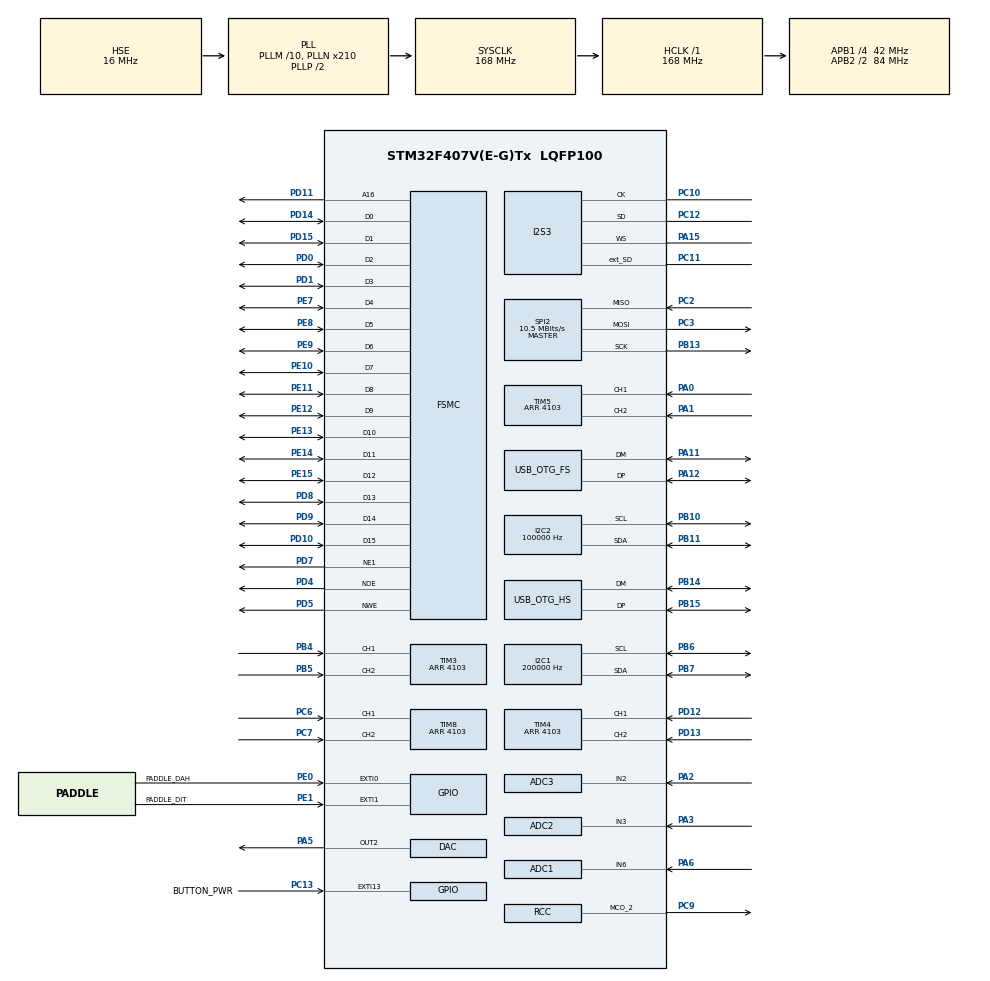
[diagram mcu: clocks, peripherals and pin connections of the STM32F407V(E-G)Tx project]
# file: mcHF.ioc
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ADC1.Channel-0\#ChannelRegularConversion=ADC_CHANNEL_6
ADC1.ClockPrescaler=ADC_CLOCK_SYNC_PCLK_DIV8
ADC1.ContinuousConvMode=ENABLE
ADC1.EOCSelection=ADC_EOC_SEQ_CONV
ADC1.NbrOfConversionFlag=1
ADC1.Rank-0\#ChannelRegularConversion=1
ADC1.SamplingTime-0\#ChannelRegularConversion=ADC_SAMPLETIME_3CYCLES
ADC1.master=1
ADC2.Channel-5\#ChannelRegularConversion=ADC_CHANNEL_3
ADC2.ClockPrescaler=ADC_CLOCK_SYNC_PCLK_DIV8
ADC2.ContinuousConvMode=ENABLE
ADC2.EOCSelection=ADC_EOC_SEQ_CONV
ADC2.NbrOfConversionFlag=1
ADC2.Rank-5\#ChannelRegularConversion=1
ADC2.SamplingTime-5\#ChannelRegularConversion=ADC_SAMPLETIME_3CYCLES
ADC3.Channel-5\#ChannelRegularConversion=ADC_CHANNEL_2
ADC3.ClockPrescaler=ADC_CLOCK_SYNC_PCLK_DIV8
ADC3.ContinuousConvMode=ENABLE
ADC3.EOCSelection=ADC_EOC_SEQ_CONV
ADC3.NbrOfConversionFlag=1
ADC3.Rank-5\#ChannelRegularConversion=1
ADC3.SamplingTime-5\#ChannelRegularConversion=ADC_SAMPLETIME_3CYCLES
Dma.I2S3_EXT_RX.2.Direction=DMA_PERIPH_TO_MEMORY
Dma.I2S3_EXT_RX.2.FIFOMode=DMA_FIFOMODE_ENABLE
Dma.I2S3_EXT_RX.2.FIFOThreshold=DMA_FIFO_THRESHOLD_FULL
Dma.I2S3_EXT_RX.2.Instance=DMA1_Stream2
Dma.I2S3_EXT_RX.2.MemBurst=DMA_MBURST_INC4
Dma.I2S3_EXT_RX.2.MemDataAlignment=DMA_MDATAALIGN_HALFWORD
Dma.I2S3_EXT_RX.2.MemInc=DMA_MINC_ENABLE
Dma.I2S3_EXT_RX.2.Mode=DMA_CIRCULAR
Dma.I2S3_EXT_RX.2.PeriphBurst=DMA_PBURST_SINGLE
Dma.I2S3_EXT_RX.2.PeriphDataAlignment=DMA_PDATAALIGN_HALFWORD
Dma.I2S3_EXT_RX.2.PeriphInc=DMA_PINC_DISABLE
Dma.I2S3_EXT_RX.2.Priority=DMA_PRIORITY_HIGH
Dma.Request0=SPI2_TX
Dma.Request1=SPI3_TX
Dma.Request2=I2S3_EXT_RX
Dma.SPI2_TX.0.Direction=DMA_MEMORY_TO_PERIPH
Dma.SPI2_TX.0.FIFOMode=DMA_FIFOMODE_DISABLE
Dma.SPI2_TX.0.Instance=DMA1_Stream4
Dma.SPI2_TX.0.MemDataAlignment=DMA_MDATAALIGN_BYTE
Dma.SPI2_TX.0.MemInc=DMA_MINC_ENABLE
Dma.SPI2_TX.0.Mode=DMA_NORMAL
Dma.SPI2_TX.0.PeriphDataAlignment=DMA_PDATAALIGN_BYTE
Dma.SPI2_TX.0.PeriphInc=DMA_PINC_DISABLE
Dma.SPI2_TX.0.Priority=DMA_PRIORITY_LOW
Dma.SPI3_TX.1.Direction=DMA_MEMORY_TO_PERIPH
Dma.SPI3_TX.1.FIFOMode=DMA_FIFOMODE_ENABLE
Dma.SPI3_TX.1.FIFOThreshold=DMA_FIFO_THRESHOLD_FULL
Dma.SPI3_TX.1.Instance=DMA1_Stream5
Dma.SPI3_TX.1.MemBurst=DMA_MBURST_SINGLE
Dma.SPI3_TX.1.MemDataAlignment=DMA_MDATAALIGN_HALFWORD
Dma.SPI3_TX.1.MemInc=DMA_MINC_ENABLE
Dma.SPI3_TX.1.Mode=DMA_CIRCULAR
Dma.SPI3_TX.1.PeriphBurst=DMA_PBURST_SINGLE
Dma.SPI3_TX.1.PeriphDataAlignment=DMA_PDATAALIGN_HALFWORD
Dma.SPI3_TX.1.PeriphInc=DMA_PINC_DISABLE
Dma.SPI3_TX.1.Priority=DMA_PRIORITY_HIGH
FSMC.AddressSetupTime1=6
FSMC.BusTurnAroundDuration1=0
FSMC.DataSetupTime1=15
I2C1.ClockSpeed=200000
I2C1.DutyCycle=I2C_DUTYCYCLE_16_9
I2C1.I2C_Mode=I2C_Fast
I2C1.OwnAddress=0x33
I2C2.ClockSpeed=100000
I2C2.DutyCycle=I2C_DUTYCYCLE_16_9
I2C2.I2C_Mode=I2C_Fast
I2C2.OwnAddress=0x33
I2S3.AudioFreq=I2S_AUDIOFREQ_48K
I2S3.ErrorAudioFreq=0.0 %
I2S3.FullDuplexMode=I2S_FULLDUPLEXMODE_ENABLE
I2S3.Instance=SPI$Index
I2S3.RealAudioFreq=48.0 KHz
I2S3.VirtualMode=I2S_MODE_MASTER
Mcu.Family=STM32F4
Mcu.Name=STM32F407V(E-G)Tx
Mcu.Package=LQFP100
NVIC.DMA1_Stream2_IRQn=true\:2\:0\:true\:false\:true\:true
NVIC.DMA1_Stream4_IRQn=true\:14\:0\:true\:false\:true\:true
NVIC.DMA1_Stream5_IRQn=true\:14\:0\:true\:false\:true\:true
NVIC.EXTI0_IRQn=true\:14\:0\:true\:false\:true\:true
NVIC.EXTI15_10_IRQn=true\:14\:0\:true\:false\:true\:true
NVIC.EXTI1_IRQn=true\:14\:0\:true\:false\:true\:true
NVIC.OTG_FS_IRQn=true\:1\:0\:true\:false\:true\:true
NVIC.OTG_HS_IRQn=true\:14\:0\:true\:false\:true\:true
NVIC.PriorityGroup=NVIC_PRIORITYGROUP_4
PA0-WKUP.GPIO_PuPd=GPIO_PULLUP
PA0-WKUP.Signal=S_TIM5_CH1
PA1.GPIO_PuPd=GPIO_PULLUP
PA1.Signal=S_TIM5_CH2
PA11.Mode=Device_Only
PA11.Signal=USB_OTG_FS_DM
PA12.Mode=Device_Only
PA12.Signal=USB_OTG_FS_DP
PA13.Mode=Serial_Wire
PA13.Signal=SYS_JTMS-SWDIO
PA14.Mode=Serial_Wire
PA14.Signal=SYS_JTCK-SWCLK
PA15.Mode=Full_Duplex_Master
PA15.Signal=I2S3_WS
PA2.Signal=ADCx_IN2
PA3.Signal=ADCx_IN3
PA5.Signal=COMP_DAC2_group
PA6.Signal=ADCx_IN6
PB10.Mode=I2C
PB10.Signal=I2C2_SCL
PB11.Mode=I2C
PB11.Signal=I2C2_SDA
PB13.Mode=Full_Duplex_Master
PB13.Signal=SPI2_SCK
PB14.Mode=Host_FS
PB14.Signal=USB_OTG_HS_DM
PB15.Mode=Host_FS
PB15.Signal=USB_OTG_HS_DP
PB4.GPIO_PuPd=GPIO_PULLUP
PB4.Signal=S_TIM3_CH1
PB5.GPIO_PuPd=GPIO_PULLUP
PB5.Signal=S_TIM3_CH2
PB6.Mode=I2C
PB6.Signal=I2C1_SCL
PB7.Mode=I2C
PB7.Signal=I2C1_SDA
PC10.Mode=Full_Duplex_Master
PC10.Signal=I2S3_CK
PC11.Mode=Full_Duplex_Master
PC11.Signal=I2S3_ext_SD
PC12.Mode=Full_Duplex_Master
PC12.Signal=I2S3_SD
PC13-ANTI_TAMP.GPIO_Label=BUTTON_PWR
PC13-ANTI_TAMP.GPIO_ModeDefaultEXTI=GPIO_MODE_IT_FALLING
PC13-ANTI_TAMP.GPIO_PuPd=GPIO_PULLUP
PC13-ANTI_TAMP.Signal=GPXTI13
PC14-OSC32_IN.Mode=LSE-External-Oscillator
PC14-OSC32_IN.Signal=RCC_OSC32_IN
PC15-OSC32_OUT.Mode=LSE-External-Oscillator
PC15-OSC32_OUT.Signal=RCC_OSC32_OUT
PC2.Mode=Full_Duplex_Master
PC2.Signal=SPI2_MISO
PC3.Mode=Full_Duplex_Master
PC3.Signal=SPI2_MOSI
PC6.GPIO_PuPd=GPIO_PULLUP
PC6.Signal=S_TIM8_CH1
PC7.GPIO_PuPd=GPIO_PULLUP
PC7.Signal=S_TIM8_CH2
PC9.Mode=Clock-out-2
PC9.Signal=RCC_MCO_2
PD0.Mode=16b-d1
PD0.Signal=FSMC_D2
PD1.Mode=16b-d1
PD1.Signal=FSMC_D3
PD10.Mode=16b-d1
PD10.Signal=FSMC_D15
PD11.Mode=A16_1
PD11.Signal=FSMC_A16
PD12.GPIO_PuPd=GPIO_PULLUP
PD12.Signal=S_TIM4_CH1
PD13.GPIO_PuPd=GPIO_PULLUP
PD13.Signal=S_TIM4_CH2
PD14.Mode=16b-d1
PD14.Signal=FSMC_D0
PD15.Mode=16b-d1
PD15.Signal=FSMC_D1
PD4.Mode=Lcd1
PD4.Signal=FSMC_NOE
PD5.Mode=Lcd1
PD5.Signal=FSMC_NWE
PD7.Mode=NorPsramChipSelect1_1
PD7.Signal=FSMC_NE1
PD8.Mode=16b-d1
PD8.Signal=FSMC_D13
PD9.Mode=16b-d1
PD9.Signal=FSMC_D14
PE0.GPIO_Label=PADDLE_DAH
PE0.GPIO_ModeDefaultEXTI=GPIO_MODE_IT_FALLING
PE0.GPIO_PuPd=GPIO_PULLUP
PE0.Signal=GPXTI0
PE1.GPIO_Label=PADDLE_DIT
PE1.GPIO_ModeDefaultEXTI=GPIO_MODE_IT_FALLING
PE1.GPIO_PuPd=GPIO_PULLUP
PE1.Signal=GPXTI1
PE10.Mode=16b-d1
PE10.Signal=FSMC_D7
PE11.Mode=16b-d1
PE11.Signal=FSMC_D8
PE12.Mode=16b-d1
PE12.Signal=FSMC_D9
PE13.Mode=16b-d1
PE13.Signal=FSMC_D10
PE14.Mode=16b-d1
PE14.Signal=FSMC_D11
PE15.Mode=16b-d1
PE15.Signal=FSMC_D12
PE7.Mode=16b-d1
PE7.Signal=FSMC_D4
PE8.Mode=16b-d1
PE8.Signal=FSMC_D5
PE9.Mode=16b-d1
PE9.Signal=FSMC_D6
PH0-OSC_IN.Mode=HSE-External-Oscillator
PH0-OSC_IN.Signal=RCC_OSC_IN
PH1-OSC_OUT.Mode=HSE-External-Oscillator
PH1-OSC_OUT.Signal=RCC_OSC_OUT
ProjectManager.HeapSize=0x200
ProjectManager.StackSize=0x400
ProjectManager.TargetToolchain=Other Toolchains (GPDSC)
RCC.48MHZClocksFreq_Value=48000000
RCC.AHBFreq_Value=168000000
RCC.APB1CLKDivider=RCC_HCLK_DIV4
RCC.APB1Freq_Value=42000000
RCC.APB1TimFreq_Value=84000000
RCC.APB2CLKDivider=RCC_HCLK_DIV2
RCC.APB2Freq_Value=84000000
RCC.APB2TimFreq_Value=168000000
RCC.CortexFreq_Value=168000000
RCC.HCLKFreq_Value=168000000
RCC.HSE_VALUE=16000000
RCC.HSI_VALUE=16000000
RCC.PLLI2SR=5
RCC.PLLM=10
RCC.PLLN=210
RCC.PLLQ=7
RCC.RCC_MCO2Source=RCC_MCO2SOURCE_PLLI2SCLK
RCC.RCC_MCODiv2=RCC_MCODIV_5
RCC.RCC_RTC_Clock_Source=RCC_RTCCLKSOURCE_LSE
RCC.RCC_RTC_Clock_SourceVirtual=RCC_RTCCLKSOURCE_LSE
RCC.SYSCLKFreq_VALUE=168000000
RCC.SYSCLKSource=RCC_SYSCLKSOURCE_PLLCLK
RCC.VCOOutputFreq_Value=336000000
SH.ADCx_IN2.0=ADC3_IN2,IN2
SH.ADCx_IN3.0=ADC2_IN3,IN3
SH.ADCx_IN6.0=ADC1_IN6,IN6
SH.COMP_DAC2_group.0=DAC_OUT2,DAC_OUT2
SH.S_TIM3_CH1.0=TIM3_CH1,Encoder_Interface
SH.S_TIM3_CH2.0=TIM3_CH2,Encoder_Interface
SH.S_TIM4_CH1.0=TIM4_CH1,Encoder_Interface
SH.S_TIM4_CH2.0=TIM4_CH2,Encoder_Interface
SH.S_TIM5_CH1.0=TIM5_CH1,Encoder_Interface
SH.S_TIM5_CH2.0=TIM5_CH2,Encoder_Interface
SH.S_TIM8_CH1.0=TIM8_CH1,Encoder_Interface
SH.S_TIM8_CH2.0=TIM8_CH2,Encoder_Interface
SPI2.BaudRatePrescaler=SPI_BAUDRATEPRESCALER_4
SPI2.CLKPhase=SPI_PHASE_2EDGE
SPI2.CLKPolarity=SPI_POLARITY_HIGH
SPI2.CalculateBaudRate=10.5 MBits/s
SPI2.Direction=SPI_DIRECTION_2LINES
SPI2.Mode=SPI_MODE_MASTER
SPI2.VirtualType=VM_MASTER
TIM3.EncoderMode=TIM_ENCODERMODE_TI12
TIM3.IC1Polarity=TIM_ICPOLARITY_FALLING
TIM3.IC2Polarity=TIM_ICPOLARITY_FALLING
TIM3.Period=4103
TIM4.EncoderMode=TIM_ENCODERMODE_TI12
TIM4.IC1Polarity=TIM_ICPOLARITY_FALLING
TIM4.IC2Polarity=TIM_ICPOLARITY_FALLING
TIM4.Period=4103
TIM5.EncoderMode=TIM_ENCODERMODE_TI12
TIM5.IC1Polarity=TIM_ICPOLARITY_FALLING
TIM5.IC2Polarity=TIM_ICPOLARITY_FALLING
TIM5.Period=4103
TIM8.EncoderMode=TIM_ENCODERMODE_TI12
TIM8.IC1Polarity=TIM_ICPOLARITY_FALLING
TIM8.IC2Polarity=TIM_ICPOLARITY_FALLING
TIM8.Period=4103
USB_DEVICE.CLASS_NAME_FS=AUDIO
USB_DEVICE.PID_AUDIO_FS=0x7740
USB_DEVICE.SERIALNUMBER_STRING_AUDIO_FS=00000000002A
USB_DEVICE.USBD_AUDIO_FREQ-AUDIO_FS=48000
USB_DEVICE.USBD_MAX_NUM_INTERFACES-AUDIO_FS=5
USB_DEVICE.VirtualModeFS=Audio_FS
USB_HOST.USBH_HandleTypeDef-ALL_Classes_HS=hUsbHostHS
USB_HOST.VirtualModeHS=All_Classes
USB_OTG_FS.Sof_enable=ENABLE
USB_OTG_FS.VirtualMode=Device_Only
USB_OTG_FS.vbus_sensing_enable=DISABLE
USB_OTG_HS.VirtualMode-Host_FS=Host_FS
VP_FATFS_VS_Generic.Mode=User_defined
VP_RTC_VS_RTC_Activate.Mode=RTC_Enabled
VP_USB_DEVICE_VS_USB_DEVICE_AUDIO_FS.Mode=AUDIO_FS
VP_USB_HOST_VS_USB_HOST_ALL_CLASS_HS.Mode=ALL_Classes_HS
board=mcHF

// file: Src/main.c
/**
  ******************************************************************************
  * File Name          : main.c
  * Description        : Main program body
  ******************************************************************************
  *
  * Copyright (c) 2017 STMicroelectronics International N.V.
  * All rights reserved.
  *
  * Redistribution and use in source and binary forms, with or without
  * modification, are permitted, provided that the following conditions are met:
  *
  * 1. Redistribution of source code must retain the above copyright notice,
  *    this list of conditions and the following disclaimer.
  * 2. Redistributions in binary form must reproduce the above copyright notice,
  *    this list of conditions and the following disclaimer in the documentation
  *    and/or other materials provided with the distribution.
  * 3. Neither the name of STMicroelectronics nor the names of other
  *    contributors to this software may be used to endorse or promote products
  *    derived from this software without specific written permission.
  * 4. This software, including modifications and/or derivative works of this
  *    software, must execute solely and exclusively on microcontroller or
  *    microprocessor devices manufactured by or for STMicroelectronics.
  * 5. Redistribution and use of this software other than as permitted under
  *    this license is void and will automatically terminate your rights under
  *    this license.
  *
  * THIS SOFTWARE IS PROVIDED BY STMICROELECTRONICS AND CONTRIBUTORS "AS IS"
  * AND ANY EXPRESS, IMPLIED OR STATUTORY WARRANTIES, INCLUDING, BUT NOT
  * LIMITED TO, THE IMPLIED WARRANTIES OF MERCHANTABILITY, FITNESS FOR A
  * PARTICULAR PURPOSE AND NON-INFRINGEMENT OF THIRD PARTY INTELLECTUAL PROPERTY
  * RIGHTS ARE DISCLAIMED TO THE FULLEST EXTENT PERMITTED BY LAW. IN NO EVENT
  * SHALL STMICROELECTRONICS OR CONTRIBUTORS BE LIABLE FOR ANY DIRECT, INDIRECT,
  * INCIDENTAL, SPECIAL, EXEMPLARY, OR CONSEQUENTIAL DAMAGES (INCLUDING, BUT NOT
  * LIMITED TO, PROCUREMENT OF SUBSTITUTE GOODS OR SERVICES; LOSS OF USE, DATA,
  * OR PROFITS; OR BUSINESS INTERRUPTION) HOWEVER CAUSED AND ON ANY THEORY OF
  * LIABILITY, WHETHER IN CONTRACT, STRICT LIABILITY, OR TORT (INCLUDING
  * NEGLIGENCE OR OTHERWISE) ARISING IN ANY WAY OUT OF THE USE OF THIS SOFTWARE,
  * EVEN IF ADVISED OF THE POSSIBILITY OF SUCH DAMAGE.
  *
  ******************************************************************************
  */
#include "main.h"
#include "stm32f4xx_hal.h"
#include "adc.h"
#include "dac.h"
#include "dma.h"
#include "fatfs.h"
#include "i2c.h"
#include "i2s.h"
#include "rtc.h"
#include "spi.h"
#include "tim.h"
#include "usb_device.h"
#include "usb_host.h"
#include "gpio.h"
#include "fsmc.h"

/* USER CODE BEGIN PV */
/* Private variables ---------------------------------------------------------*/

/* USER CODE END PV */

void SystemClock_Config(void);
void Error_Handler(void);

/* USER CODE BEGIN PFP */
/* Private function prototypes -----------------------------------------------*/

/* USER CODE END PFP */

/* USER CODE BEGIN 0 */
void MPU_Config(void);

#ifdef BOOTLOADER_BUILD
void MX_USB_HOST_Process(void);
#include "bootloader/bootloader_main.h"
#else

#include "uhsdr_main.h"

#endif
/* USER CODE END 0 */

int main(void)
{

  /* USER CODE BEGIN 1 */
#ifdef BOOTLOADER_BUILD
    Bootloader_CheckAndGoForBootTarget();
  //  we need to do this as early as possible
#endif
  /* MPU Configuration----------------------------------------------------------*/
  MPU_Config();
  /* USER CODE END 1 */

  /* MCU Configuration----------------------------------------------------------*/

  /* Reset of all peripherals, Initializes the Flash interface and the Systick. */
  HAL_Init();

  HAL_RCC_DeInit();

  /* Configure the system clock */
  SystemClock_Config();

  /* Initialize all configured peripherals */

#ifdef BOOTLOADER_BUILD
  Bootloader_Main();
#else
  MX_GPIO_Init();
  MX_DMA_Init();
  MX_ADC1_Init();
  MX_ADC2_Init();
  MX_ADC3_Init();
  MX_DAC_Init();
  MX_I2C1_Init();
  MX_I2C2_Init();
  MX_I2S3_Init();
  MX_RTC_Init();
  MX_SPI2_Init();
  MX_TIM3_Init();
  MX_TIM5_Init();
  MX_TIM8_Init();
  MX_USB_DEVICE_Init();
#endif
#if defined(USE_USBHOST) || defined(BOOTLOADER_BUILD)
  MX_USB_HOST_Init();
#if defined(USE_USBDRIVE) || defined(BOOTLOADER_BUILD)
  MX_FATFS_Init();
#endif  // MX_FSMC_Init();
#endif
#ifndef BOOTLOADER_BUILD
  MX_TIM4_Init();
#endif
  /* USER CODE BEGIN 2 */
#ifndef BOOTLOADER_BUILD
   mchfMain();
  /* USER CODE END 2 */

  /* Infinite loop */
  /* USER CODE BEGIN WHILE */
#else
  while (1)
  {
  /* USER CODE END WHILE */
    MX_USB_HOST_Process();

    /* USER CODE BEGIN 3 */
    Bootloader_UsbHostApplication();

  }
#endif
  /* USER CODE END 3 */

}

/** System Clock Configuration
*/
void SystemClock_Config(void)
{

  RCC_OscInitTypeDef RCC_OscInitStruct;
  RCC_ClkInitTypeDef RCC_ClkInitStruct;
  RCC_PeriphCLKInitTypeDef PeriphClkInitStruct;

    /**Configure the main internal regulator output voltage
    */
  __HAL_RCC_PWR_CLK_ENABLE();

  __HAL_PWR_VOLTAGESCALING_CONFIG(PWR_REGULATOR_VOLTAGE_SCALE1);

    /**Initializes the CPU, AHB and APB busses clocks
    */
  RCC_OscInitStruct.OscillatorType = RCC_OSCILLATORTYPE_HSE;
  RCC_OscInitStruct.HSEState = RCC_HSE_ON;
  RCC_OscInitStruct.LSEState = RCC_LSE_ON;
  RCC_OscInitStruct.PLL.PLLState = RCC_PLL_ON;
  RCC_OscInitStruct.PLL.PLLSource = RCC_PLLSOURCE_HSE;
  RCC_OscInitStruct.PLL.PLLM = 10;
  RCC_OscInitStruct.PLL.PLLN = 210;
  RCC_OscInitStruct.PLL.PLLP = RCC_PLLP_DIV2;
  RCC_OscInitStruct.PLL.PLLQ = 7;
  if (HAL_RCC_OscConfig(&RCC_OscInitStruct) != HAL_OK)
  {
    Error_Handler();
  }

    /**Initializes the CPU, AHB and APB busses clocks
    */
  RCC_ClkInitStruct.ClockType = RCC_CLOCKTYPE_HCLK|RCC_CLOCKTYPE_SYSCLK
                              |RCC_CLOCKTYPE_PCLK1|RCC_CLOCKTYPE_PCLK2;
  RCC_ClkInitStruct.SYSCLKSource = RCC_SYSCLKSOURCE_PLLCLK;
  RCC_ClkInitStruct.AHBCLKDivider = RCC_SYSCLK_DIV1;
  RCC_ClkInitStruct.APB1CLKDivider = RCC_HCLK_DIV4;
  RCC_ClkInitStruct.APB2CLKDivider = RCC_HCLK_DIV2;

  if (HAL_RCC_ClockConfig(&RCC_ClkInitStruct, FLASH_LATENCY_5) != HAL_OK)
  {
    Error_Handler();
  }

  PeriphClkInitStruct.PeriphClockSelection = RCC_PERIPHCLK_I2S|RCC_PERIPHCLK_I2S
                              |RCC_PERIPHCLK_RTC;
  PeriphClkInitStruct.PLLI2S.PLLI2SN = 192;
  PeriphClkInitStruct.PLLI2S.PLLI2SR = 5;
  PeriphClkInitStruct.RTCClockSelection = RCC_RTCCLKSOURCE_LSE;
  if (HAL_RCCEx_PeriphCLKConfig(&PeriphClkInitStruct) != HAL_OK)
  {
    Error_Handler();
  }

  HAL_RCC_MCOConfig(RCC_MCO2, RCC_MCO2SOURCE_PLLI2SCLK, RCC_MCODIV_5);

    /**Configure the Systick interrupt time
    */
  HAL_SYSTICK_Config(HAL_RCC_GetHCLKFreq()/1000);

    /**Configure the Systick
    */
  HAL_SYSTICK_CLKSourceConfig(SYSTICK_CLKSOURCE_HCLK);

  /* SysTick_IRQn interrupt configuration */
  HAL_NVIC_SetPriority(SysTick_IRQn, 0, 0);
}

/* USER CODE BEGIN 4 */
void MPU_Config(void)
{
  MPU_Region_InitTypeDef MPU_InitStruct;

  /* Disables the MPU */
  HAL_MPU_Disable();
    /**Initializes and configures the Region and the memory to be protected
    */
  MPU_InitStruct.Enable = MPU_REGION_ENABLE;
  MPU_InitStruct.Number = MPU_REGION_NUMBER0;
  MPU_InitStruct.BaseAddress = 0x60000000;
  MPU_InitStruct.Size = MPU_REGION_SIZE_4MB;
  MPU_InitStruct.SubRegionDisable = 0x0;
  MPU_InitStruct.TypeExtField = MPU_TEX_LEVEL0;
  MPU_InitStruct.AccessPermission = MPU_REGION_FULL_ACCESS;
  MPU_InitStruct.DisableExec = MPU_INSTRUCTION_ACCESS_DISABLE;
  MPU_InitStruct.IsShareable = MPU_ACCESS_SHAREABLE;
  MPU_InitStruct.IsCacheable = MPU_ACCESS_NOT_CACHEABLE;
  MPU_InitStruct.IsBufferable = MPU_ACCESS_BUFFERABLE;

  HAL_MPU_ConfigRegion(&MPU_InitStruct);

  /* Enables the MPU */
  HAL_MPU_Enable(MPU_PRIVILEGED_DEFAULT);

}
/* USER CODE END 4 */

void Error_Handler(void)
{
  while(1)
  {
  }
}

#ifdef USE_FULL_ASSERT

/**
   * @brief Reports the name of the source file and the source line number
   * where the assert_param error has occurred.
   * @param file: pointer to the source file name
   * @param line: assert_param error line source number
   * @retval None
   */
void assert_failed(uint8_t* file, uint32_t line)
{
  /* USER CODE BEGIN 6 */
  /* User can add his own implementation to report the file name and line number,
    ex: printf("Wrong parameters value: file %s on line %d\r\n", file, line) */
    for(;;); // We stuck here as long as we do not have any debug interface...
  /* USER CODE END 6 */

}

#endif

/************************ (C) COPYRIGHT STMicroelectronics *****END OF FILE****/
